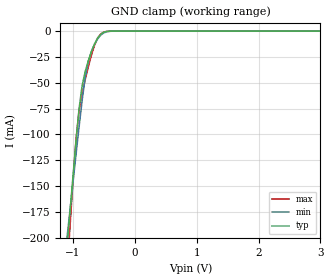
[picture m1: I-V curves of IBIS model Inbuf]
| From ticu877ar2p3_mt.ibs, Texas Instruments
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|=================== Models Section ----------------------------------------
[Model]   Inbuf
Model_type   Input
|Signals   FBIN, FBIN-
Vinh = 1.105
Vinl = 0.665
|SiSoft Hspice_diff tt tiu877ar2p3_sia_fb.mod tiu877ar2p3_sia_fb_typ
|SiSoft Hspice_diff ff riu877ar2p3_sia_fb.mod tiu877ar2p3_sia_fb_min
|SiSoft Hspice_diff ss tiu877ar2p3_sia_fb.mod tiu877ar2p3_sia_fb_max
|SiSoft include $SSTL_18/sstl_18.inc
|   typ   min   max
C_comp   2.27pF   NA   NA
|   typ   min   max
[Temperature Range]   40   105   0
[Voltage range]   1.8   1.7   1.9
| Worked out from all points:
|   GND clamp passes 1 mA (typ) near -0.49 V on its own axis
[Power Clamp]
|   Voltage   I(typ)   I(min)   I(max)
-1.9V     0A         0A         0A
0V        0A         0A         0A
3.8V      0A         0A         0A
[GND Clamp]
|   Voltage   I(typ)   I(min)   I(max)
-1.9V     -785mA     -642.5mA   -982.6mA
-1.1V     -213.5mA   -203mA     -239.7mA
-1.05V    -177.8mA   -175.5mA   -193.4mA
-950mV    -107.2mA   -120.7mA   -105.8mA
-900mV    -75.44mA   -93.5mA    -77.36mA
-850mV    -52.8mA    -67.41mA   -60.58mA
-800mV    -39.08mA   -44.92mA   -47.05mA
-750mV    -28.78mA   -29.34mA   -34.65mA
-700mV    -19.93mA   -19.64mA   -23.44mA
-600mV    -6.705mA   -7.641mA   -6.925mA
-500mV    -1.106mA   -1.771mA   -891.8uA
3.8V      0A         0A         0A
